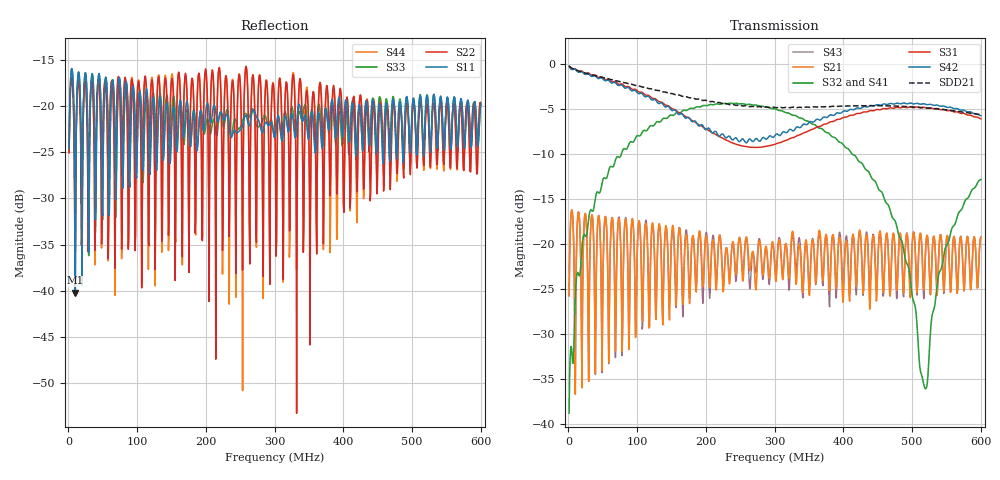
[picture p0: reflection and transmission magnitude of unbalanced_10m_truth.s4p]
! bare DUT without fixture (ground truth)
! synthetic pair, length 10.0 m
# Hz S RI R 50
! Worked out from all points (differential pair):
!   801 points, 1 MHz to 600 MHz, reference 50 ohm
!   strongest paths, dB at 1 MHz, 150.8 MHz, 300.5 MHz, 450.2 MHz, 600 MHz:
!     S42: -0.3, -5.2, -8.0, -4.6, -5.8
!     S31: -0.3, -5.0, -9.0, -5.1, -6.1
!     S32: -38.9, -5.7, -5.0, -13.8, -12.9
!     S41: -38.9, -5.7, -5.0, -13.8, -12.9
!     S21: -25.8, -18.4, -23.1, -21.8, -19.3
!     S43: -25.8, -18.9, -22.7, -21.8, -19.3
!   taken as a pair (ports 2,1 in; 4,3 out), SDD21 dB: -0.3, -3.3, -4.9, -4.7, -5.7
!   lowest |S11| = -40.2 dB at 9.985 MHz (marker M1), VSWR 1.02, Z = 50.9 + j0.451 ohm
!   |S11| at or under -10 dB: start of sweep to end of sweep
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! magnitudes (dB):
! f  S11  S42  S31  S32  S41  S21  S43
! 1 MHz  -24.6  -0.3  -0.3  -38.9  -38.9  -25.8  -25.8
! 9.985 MHz  -40.2  -0.6  -0.6  -26.0  -26.0  -36.7  -36.7
! 90.1 MHz  -25.3  -2.9  -2.7  -8.7  -8.7  -21.1  -21.5
! 291.5 MHz  -22.1  -8.1  -9.1  -4.9  -4.9  -23.8  -24.3
! 456.2 MHz  -24.2  -4.6  -5.0  -14.3  -14.3  -22.0  -22.5
! 519.1 MHz  -21.0  -4.5  -4.9  -36.1  -35.9  -21.3  -21.6
! 600 MHz  -19.7  -5.8  -6.1  -12.9  -12.9  -19.3  -19.3
